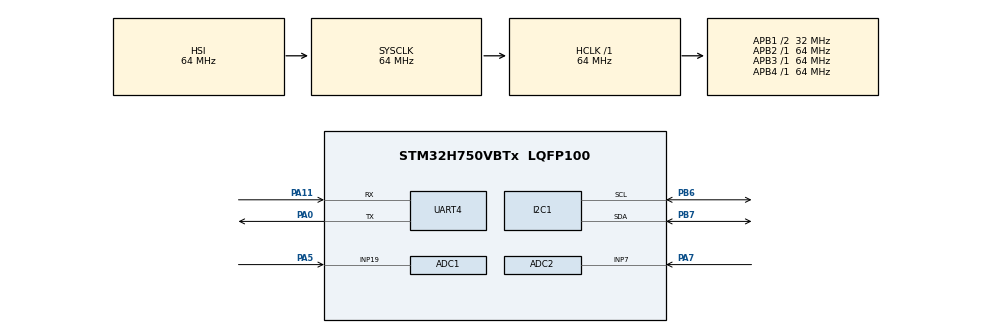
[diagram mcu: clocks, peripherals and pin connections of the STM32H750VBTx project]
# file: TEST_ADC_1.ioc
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ADC1.Channel-0\#ChannelRegularConversion=ADC_CHANNEL_19
ADC1.NbrOfConversionFlag=1
ADC1.OffsetNumber-0\#ChannelRegularConversion=ADC_OFFSET_NONE
ADC1.OffsetSignedSaturation-0\#ChannelRegularConversion=DISABLE
ADC1.Rank-0\#ChannelRegularConversion=1
ADC1.SamplingTime-0\#ChannelRegularConversion=ADC_SAMPLETIME_1CYCLE_5
ADC1.master=1
ADC2.Channel-0\#ChannelRegularConversion=ADC_CHANNEL_7
ADC2.NbrOfConversionFlag=1
ADC2.OffsetNumber-0\#ChannelRegularConversion=ADC_OFFSET_NONE
ADC2.OffsetSignedSaturation-0\#ChannelRegularConversion=DISABLE
ADC2.Rank-0\#ChannelRegularConversion=1
ADC2.SamplingTime-0\#ChannelRegularConversion=ADC_SAMPLETIME_1CYCLE_5
CORTEX_M7.default_mode_Activation=1
I2C1.Timing=0x00707CBB
Mcu.Family=STM32H7
Mcu.Name=STM32H750VBTx
Mcu.Package=LQFP100
NVIC.PriorityGroup=NVIC_PRIORITYGROUP_4
PA0.Mode=Asynchronous
PA0.Signal=UART4_TX
PA11.Mode=Asynchronous
PA11.Signal=UART4_RX
PA5.Signal=ADCx_INP19
PA7.Signal=ADCx_INP7
PB6.Mode=I2C
PB6.Signal=I2C1_SCL
PB7.Mode=I2C
PB7.Signal=I2C1_SDA
PH0-OSC_IN\ (PH0).Mode=HSE-External-Oscillator
PH0-OSC_IN\ (PH0).Signal=RCC_OSC_IN
PH1-OSC_OUT\ (PH1).Mode=HSE-External-Oscillator
PH1-OSC_OUT\ (PH1).Signal=RCC_OSC_OUT
ProjectManager.HeapSize=0x200
ProjectManager.StackSize=0x400
ProjectManager.TargetToolchain=CMake
RCC.ADCFreq_Value=80000000
RCC.APB1Freq_Value=32000000
RCC.APB2Freq_Value=64000000
RCC.APB3Freq_Value=64000000
RCC.APB4Freq_Value=64000000
RCC.CortexFreq_Value=64000000
RCC.D2PPRE1=RCC_APB1_DIV2
RCC.DIVM2=4
RCC.DIVN2=10
RCC.HCLKFreq_Value=64000000
RCC.PLL2FRACN=0
RCC.SYSCLKFreq_VALUE=64000000
RCC.USBFreq_Value=129000000
SH.ADCx_INP19.0=ADC1_INP19,IN19-Single-Ended
SH.ADCx_INP7.0=ADC2_INP7,IN7-Single-Ended
VP_MEMORYMAP_VS_MEMORYMAP.Mode=CurAppReg
board=custom

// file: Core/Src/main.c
/* USER CODE BEGIN Header */
/**
  ******************************************************************************
  * @file           : main.c
  * @brief          : Main program body
  ******************************************************************************
  * @attention
  *
  * Copyright (c) 2025 STMicroelectronics.
  * All rights reserved.
  *
  * This software is licensed under terms that can be found in the LICENSE file
  * in the root directory of this software component.
  * If no LICENSE file comes with this software, it is provided AS-IS.
  *
  ******************************************************************************
  */
/* USER CODE END Header */
#include "main.h"
#include <stdio.h>
#include <string.h>

ADC_HandleTypeDef hadc1;
ADC_HandleTypeDef hadc2;

I2C_HandleTypeDef hi2c1;

UART_HandleTypeDef huart4;

/* USER CODE BEGIN PV */
uint16_t adc1_value;    // ADC1读取值
uint16_t adc2_value;    // ADC2读取值
uint8_t uart_buffer[50];  // UART发送缓存
uint32_t voltage1_mv;   // ADC1电压值(mV)
uint32_t voltage2_mv;   // ADC2电压值(mV)
/* USER CODE END PV */

void SystemClock_Config(void);
void PeriphCommonClock_Config(void);
static void MPU_Config(void);
static void MX_GPIO_Init(void);
static void MX_ADC1_Init(void);
static void MX_UART4_Init(void);
static void MX_I2C1_Init(void);
static void MX_ADC2_Init(void);

int main(void)
{

  /* MPU Configuration--------------------------------------------------------*/
  MPU_Config();

  /* MCU Configuration--------------------------------------------------------*/

  /* Reset of all peripherals, Initializes the Flash interface and the Systick. */
  HAL_Init();

  /* Configure the system clock */
  SystemClock_Config();

  /* Configure the peripherals common clocks */
  PeriphCommonClock_Config();

  /* Initialize all configured peripherals */
  MX_GPIO_Init();
  MX_ADC1_Init();
  MX_UART4_Init();
  MX_I2C1_Init();
  MX_ADC2_Init();
  /* USER CODE BEGIN 2 */
  // ADC1校准
  if (HAL_ADCEx_Calibration_Start(&hadc1, ADC_CALIB_OFFSET, ADC_SINGLE_ENDED) != HAL_OK)
  {
    Error_Handler();
  }

  // ADC2校准
  if (HAL_ADCEx_Calibration_Start(&hadc2, ADC_CALIB_OFFSET, ADC_SINGLE_ENDED) != HAL_OK)
  {
    Error_Handler();
  }

  HAL_Delay(100);  // 等待校准完成

  char uart_buffer1[] = "ADC Start Reading...\r\n";
  HAL_UART_Transmit(&huart4, (uint8_t*)uart_buffer1, strlen(uart_buffer1), 100);
  /* USER CODE END 2 */

  /* Infinite loop */
  while (1)
  {

    /* USER CODE BEGIN 3 */
    // 启动ADC1转换
    HAL_ADC_Start(&hadc1);

    // 等待ADC1转换完成
    if(HAL_ADC_PollForConversion(&hadc1, 100) == HAL_OK)
    {
      adc1_value = HAL_ADC_GetValue(&hadc1);    // 获取ADC1值
      voltage1_mv = (adc1_value * 3300) / 65535;  // 转换为毫伏值
    }

    // 启动ADC2转换
    HAL_ADC_Start(&hadc2);

    // 等待ADC2转换完成
    if(HAL_ADC_PollForConversion(&hadc2, 100) == HAL_OK)
    {
      adc2_value = HAL_ADC_GetValue(&hadc2);    // 获取ADC2值
      voltage2_mv = (adc2_value * 3300) / 65535;  // 转换为毫伏值
    }

    // 将两个ADC的原始值和电压值都输出，方便调试
    sprintf((char*)uart_buffer, "ADC1:%u/%lumV ADC2:%u/%lumV\r\n",
            adc1_value, voltage1_mv,
            adc2_value, voltage2_mv);
    HAL_UART_Transmit(&huart4, uart_buffer, strlen((char*)uart_buffer), 100);

    HAL_Delay(500);  // 增加延时时间，方便观察
  }
  /* USER CODE END 3 */
}

void SystemClock_Config(void)
{
  RCC_OscInitTypeDef RCC_OscInitStruct = {0};
  RCC_ClkInitTypeDef RCC_ClkInitStruct = {0};

  /** Supply configuration update enable
  */
  HAL_PWREx_ConfigSupply(PWR_LDO_SUPPLY);

  /** Configure the main internal regulator output voltage
  */
  __HAL_PWR_VOLTAGESCALING_CONFIG(PWR_REGULATOR_VOLTAGE_SCALE3);

  while(!__HAL_PWR_GET_FLAG(PWR_FLAG_VOSRDY)) {}

  /** Macro to configure the PLL clock source
  */
  __HAL_RCC_PLL_PLLSOURCE_CONFIG(RCC_PLLSOURCE_HSI);

  /** Initializes the RCC Oscillators according to the specified parameters
  * in the RCC_OscInitTypeDef structure.
  */
  RCC_OscInitStruct.OscillatorType = RCC_OSCILLATORTYPE_HSI;
  RCC_OscInitStruct.HSIState = RCC_HSI_DIV1;
  RCC_OscInitStruct.HSICalibrationValue = RCC_HSICALIBRATION_DEFAULT;
  RCC_OscInitStruct.PLL.PLLState = RCC_PLL_NONE;
  if (HAL_RCC_OscConfig(&RCC_OscInitStruct) != HAL_OK)
  {
    Error_Handler();
  }

  /** Initializes the CPU, AHB and APB buses clocks
  */
  RCC_ClkInitStruct.ClockType = RCC_CLOCKTYPE_HCLK|RCC_CLOCKTYPE_SYSCLK
                              |RCC_CLOCKTYPE_PCLK1|RCC_CLOCKTYPE_PCLK2
                              |RCC_CLOCKTYPE_D3PCLK1|RCC_CLOCKTYPE_D1PCLK1;
  RCC_ClkInitStruct.SYSCLKSource = RCC_SYSCLKSOURCE_HSI;
  RCC_ClkInitStruct.SYSCLKDivider = RCC_SYSCLK_DIV1;
  RCC_ClkInitStruct.AHBCLKDivider = RCC_HCLK_DIV1;
  RCC_ClkInitStruct.APB3CLKDivider = RCC_APB3_DIV1;
  RCC_ClkInitStruct.APB1CLKDivider = RCC_APB1_DIV2;
  RCC_ClkInitStruct.APB2CLKDivider = RCC_APB2_DIV1;
  RCC_ClkInitStruct.APB4CLKDivider = RCC_APB4_DIV1;

  if (HAL_RCC_ClockConfig(&RCC_ClkInitStruct, FLASH_LATENCY_1) != HAL_OK)
  {
    Error_Handler();
  }
}

void PeriphCommonClock_Config(void)
{
  RCC_PeriphCLKInitTypeDef PeriphClkInitStruct = {0};

  /** Initializes the peripherals clock
  */
  PeriphClkInitStruct.PeriphClockSelection = RCC_PERIPHCLK_ADC;
  PeriphClkInitStruct.PLL2.PLL2M = 4;
  PeriphClkInitStruct.PLL2.PLL2N = 10;
  PeriphClkInitStruct.PLL2.PLL2P = 2;
  PeriphClkInitStruct.PLL2.PLL2Q = 2;
  PeriphClkInitStruct.PLL2.PLL2R = 2;
  PeriphClkInitStruct.PLL2.PLL2RGE = RCC_PLL2VCIRANGE_3;
  PeriphClkInitStruct.PLL2.PLL2VCOSEL = RCC_PLL2VCOMEDIUM;
  PeriphClkInitStruct.PLL2.PLL2FRACN = 0;
  PeriphClkInitStruct.AdcClockSelection = RCC_ADCCLKSOURCE_PLL2;
  if (HAL_RCCEx_PeriphCLKConfig(&PeriphClkInitStruct) != HAL_OK)
  {
    Error_Handler();
  }
}

static void MX_ADC1_Init(void)
{

  ADC_MultiModeTypeDef multimode = {0};
  ADC_ChannelConfTypeDef sConfig = {0};

  /** Common config
  */
  hadc1.Instance = ADC1;
  hadc1.Init.ClockPrescaler = ADC_CLOCK_ASYNC_DIV2;
  hadc1.Init.Resolution = ADC_RESOLUTION_16B;
  hadc1.Init.ScanConvMode = ADC_SCAN_DISABLE;
  hadc1.Init.EOCSelection = ADC_EOC_SINGLE_CONV;
  hadc1.Init.LowPowerAutoWait = DISABLE;
  hadc1.Init.ContinuousConvMode = DISABLE;
  hadc1.Init.NbrOfConversion = 1;
  hadc1.Init.DiscontinuousConvMode = DISABLE;
  hadc1.Init.ExternalTrigConv = ADC_SOFTWARE_START;
  hadc1.Init.ExternalTrigConvEdge = ADC_EXTERNALTRIGCONVEDGE_NONE;
  hadc1.Init.ConversionDataManagement = ADC_CONVERSIONDATA_DR;
  hadc1.Init.Overrun = ADC_OVR_DATA_PRESERVED;
  hadc1.Init.LeftBitShift = ADC_LEFTBITSHIFT_NONE;
  hadc1.Init.OversamplingMode = DISABLE;
  hadc1.Init.Oversampling.Ratio = 1;
  if (HAL_ADC_Init(&hadc1) != HAL_OK)
  {
    Error_Handler();
  }

  /** Configure the ADC multi-mode
  */
  multimode.Mode = ADC_MODE_INDEPENDENT;
  if (HAL_ADCEx_MultiModeConfigChannel(&hadc1, &multimode) != HAL_OK)
  {
    Error_Handler();
  }

  /** Configure Regular Channel
  */
  sConfig.Channel = ADC_CHANNEL_19;
  sConfig.Rank = ADC_REGULAR_RANK_1;
  sConfig.SamplingTime = ADC_SAMPLETIME_1CYCLE_5;
  sConfig.SingleDiff = ADC_SINGLE_ENDED;
  sConfig.OffsetNumber = ADC_OFFSET_NONE;
  sConfig.Offset = 0;
  sConfig.OffsetSignedSaturation = DISABLE;
  if (HAL_ADC_ConfigChannel(&hadc1, &sConfig) != HAL_OK)
  {
    Error_Handler();
  }

}

static void MX_ADC2_Init(void)
{

  ADC_ChannelConfTypeDef sConfig = {0};

  /** Common config
  */
  hadc2.Instance = ADC2;
  hadc2.Init.ClockPrescaler = ADC_CLOCK_ASYNC_DIV2;
  hadc2.Init.Resolution = ADC_RESOLUTION_16B;
  hadc2.Init.ScanConvMode = ADC_SCAN_DISABLE;
  hadc2.Init.EOCSelection = ADC_EOC_SINGLE_CONV;
  hadc2.Init.LowPowerAutoWait = DISABLE;
  hadc2.Init.ContinuousConvMode = DISABLE;
  hadc2.Init.NbrOfConversion = 1;
  hadc2.Init.DiscontinuousConvMode = DISABLE;
  hadc2.Init.ExternalTrigConv = ADC_SOFTWARE_START;
  hadc2.Init.ExternalTrigConvEdge = ADC_EXTERNALTRIGCONVEDGE_NONE;
  hadc2.Init.ConversionDataManagement = ADC_CONVERSIONDATA_DR;
  hadc2.Init.Overrun = ADC_OVR_DATA_PRESERVED;
  hadc2.Init.LeftBitShift = ADC_LEFTBITSHIFT_NONE;
  hadc2.Init.OversamplingMode = DISABLE;
  hadc2.Init.Oversampling.Ratio = 1;
  if (HAL_ADC_Init(&hadc2) != HAL_OK)
  {
    Error_Handler();
  }

  /** Configure Regular Channel
  */
  sConfig.Channel = ADC_CHANNEL_7;
  sConfig.Rank = ADC_REGULAR_RANK_1;
  sConfig.SamplingTime = ADC_SAMPLETIME_1CYCLE_5;
  sConfig.SingleDiff = ADC_SINGLE_ENDED;
  sConfig.OffsetNumber = ADC_OFFSET_NONE;
  sConfig.Offset = 0;
  sConfig.OffsetSignedSaturation = DISABLE;
  if (HAL_ADC_ConfigChannel(&hadc2, &sConfig) != HAL_OK)
  {
    Error_Handler();
  }

}

static void MX_I2C1_Init(void)
{

  hi2c1.Instance = I2C1;
  hi2c1.Init.Timing = 0x00707CBB;
  hi2c1.Init.OwnAddress1 = 0;
  hi2c1.Init.AddressingMode = I2C_ADDRESSINGMODE_7BIT;
  hi2c1.Init.DualAddressMode = I2C_DUALADDRESS_DISABLE;
  hi2c1.Init.OwnAddress2 = 0;
  hi2c1.Init.OwnAddress2Masks = I2C_OA2_NOMASK;
  hi2c1.Init.GeneralCallMode = I2C_GENERALCALL_DISABLE;
  hi2c1.Init.NoStretchMode = I2C_NOSTRETCH_DISABLE;
  if (HAL_I2C_Init(&hi2c1) != HAL_OK)
  {
    Error_Handler();
  }

  /** Configure Analogue filter
  */
  if (HAL_I2CEx_ConfigAnalogFilter(&hi2c1, I2C_ANALOGFILTER_ENABLE) != HAL_OK)
  {
    Error_Handler();
  }

  /** Configure Digital filter
  */
  if (HAL_I2CEx_ConfigDigitalFilter(&hi2c1, 0) != HAL_OK)
  {
    Error_Handler();
  }

}

static void MX_UART4_Init(void)
{

  huart4.Instance = UART4;
  huart4.Init.BaudRate = 115200;
  huart4.Init.WordLength = UART_WORDLENGTH_8B;
  huart4.Init.StopBits = UART_STOPBITS_1;
  huart4.Init.Parity = UART_PARITY_NONE;
  huart4.Init.Mode = UART_MODE_TX_RX;
  huart4.Init.HwFlowCtl = UART_HWCONTROL_NONE;
  huart4.Init.OverSampling = UART_OVERSAMPLING_16;
  huart4.Init.OneBitSampling = UART_ONE_BIT_SAMPLE_DISABLE;
  huart4.Init.ClockPrescaler = UART_PRESCALER_DIV1;
  huart4.AdvancedInit.AdvFeatureInit = UART_ADVFEATURE_NO_INIT;
  if (HAL_UART_Init(&huart4) != HAL_OK)
  {
    Error_Handler();
  }
  if (HAL_UARTEx_SetTxFifoThreshold(&huart4, UART_TXFIFO_THRESHOLD_1_8) != HAL_OK)
  {
    Error_Handler();
  }
  if (HAL_UARTEx_SetRxFifoThreshold(&huart4, UART_RXFIFO_THRESHOLD_1_8) != HAL_OK)
  {
    Error_Handler();
  }
  if (HAL_UARTEx_DisableFifoMode(&huart4) != HAL_OK)
  {
    Error_Handler();
  }

}

static void MX_GPIO_Init(void)
{

  /* GPIO Ports Clock Enable */
  __HAL_RCC_GPIOH_CLK_ENABLE();
  __HAL_RCC_GPIOA_CLK_ENABLE();
  __HAL_RCC_GPIOB_CLK_ENABLE();

}

 /* MPU Configuration */

void MPU_Config(void)
{
  MPU_Region_InitTypeDef MPU_InitStruct = {0};

  /* Disables the MPU */
  HAL_MPU_Disable();

  /** Initializes and configures the Region and the memory to be protected
  */
  MPU_InitStruct.Enable = MPU_REGION_ENABLE;
  MPU_InitStruct.Number = MPU_REGION_NUMBER0;
  MPU_InitStruct.BaseAddress = 0x0;
  MPU_InitStruct.Size = MPU_REGION_SIZE_4GB;
  MPU_InitStruct.SubRegionDisable = 0x87;
  MPU_InitStruct.TypeExtField = MPU_TEX_LEVEL0;
  MPU_InitStruct.AccessPermission = MPU_REGION_NO_ACCESS;
  MPU_InitStruct.DisableExec = MPU_INSTRUCTION_ACCESS_DISABLE;
  MPU_InitStruct.IsShareable = MPU_ACCESS_SHAREABLE;
  MPU_InitStruct.IsCacheable = MPU_ACCESS_NOT_CACHEABLE;
  MPU_InitStruct.IsBufferable = MPU_ACCESS_NOT_BUFFERABLE;

  HAL_MPU_ConfigRegion(&MPU_InitStruct);
  /* Enables the MPU */
  HAL_MPU_Enable(MPU_PRIVILEGED_DEFAULT);

}

void Error_Handler(void)
{
  __disable_irq();
  while (1)
  {
  }
}
